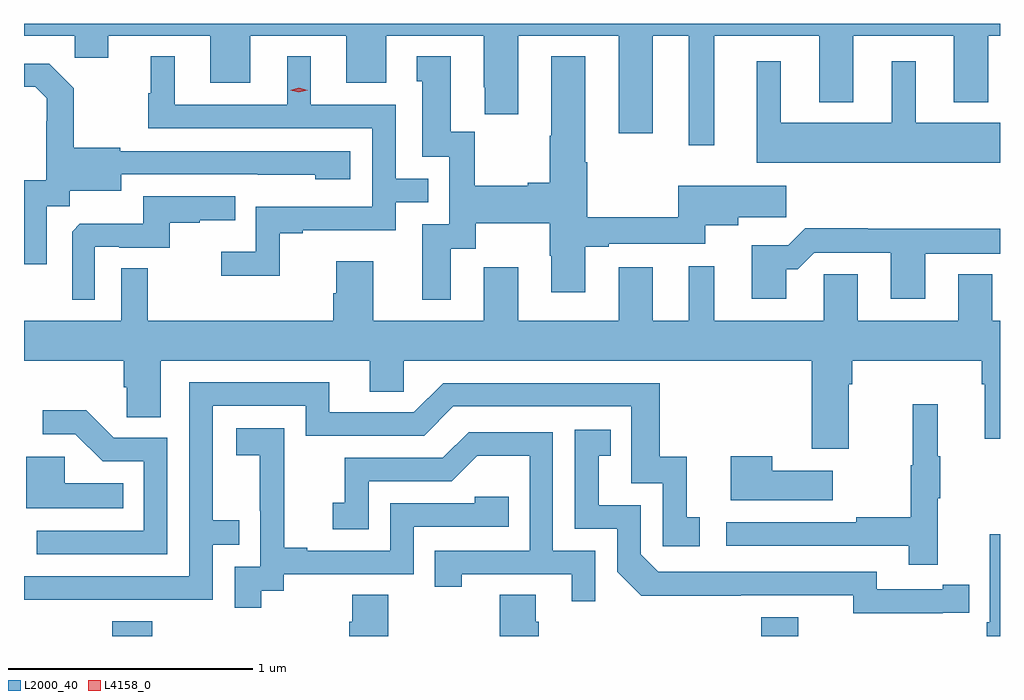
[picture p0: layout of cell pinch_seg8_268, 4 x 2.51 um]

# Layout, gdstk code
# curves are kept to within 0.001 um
import gdstk
lib = gdstk.Library(unit=1e-6, precision=1e-09)
def R(c, l, rs):  # rectangles x0, y0, x1, y1
    for r in rs: c.add(gdstk.rectangle(r[:2], r[2:], *l))
def P(c, l, *ps):  # polygons
    for p in ps: c.add(gdstk.Polygon(p, *l))
L2000_40 = (2000, 40)
L4158_0 = (4158, 0)

pinch_seg8_268 = lib.new_cell('pinch_seg8_268')
R(pinch_seg8_268, L2000_40, [(544.427,1161.991,544.592,1162.051), (547.088,1161.991,547.24,1162.069)])
P(pinch_seg8_268, L2000_40, [(546.895,1164.452),(547.325,1164.452),(547.325,1164.179),(547.465,1164.179),(547.465,1164.452),(547.877,1164.452),(547.877,1164.179),(548.017,1164.179),(548.017,1164.452),(548.066,1164.452),(548.066,1164.5),(544.066,1164.5),(544.066,1164.452),(544.273,1164.452),(544.273,1164.362),(544.411,1164.362),(544.411,1164.452),(544.829,1164.452),(544.829,1164.258),(544.993,1164.258),(544.993,1164.452),(545.387,1164.452),(545.387,1164.258),(545.551,1164.258),(545.551,1164.452),(545.951,1164.452),(545.951,1164.241),(545.954,1164.241),(545.954,1164.129),(546.091,1164.129),(546.091,1164.452),(546.503,1164.452),(546.503,1164.051),(546.643,1164.051),(546.643,1164.452),(546.791,1164.452),(546.791,1164.003),(546.895,1164.003)],
  [(545.115,1163.643),(545.209,1163.643),(545.209,1163.655),(545.589,1163.655),(545.589,1163.769),(545.723,1163.769),(545.723,1163.865),(545.589,1163.865),(545.589,1164.168),(545.242,1164.168),(545.242,1164.367),(545.144,1164.367),(545.144,1164.168),(544.684,1164.168),(544.684,1164.367),(544.586,1164.367),(544.586,1164.216),(544.575,1164.216),(544.575,1164.072),(545.493,1164.072),(545.493,1163.751),(545.016,1163.751),(545.016,1163.566),(544.875,1163.566),(544.875,1163.468),(545.115,1163.468)],
  [(545.815,1163.578),(545.917,1163.578),(545.917,1163.684),(546.22,1163.684),(546.22,1163.55),(546.227,1163.55),(546.227,1163.4),(546.367,1163.4),(546.367,1163.586),(546.463,1163.586),(546.463,1163.598),(546.857,1163.598),(546.857,1163.675),(546.994,1163.675),(546.994,1163.707),(547.189,1163.707),(547.189,1163.836),(546.747,1163.836),(546.747,1163.707),(546.375,1163.707),(546.375,1163.932),(546.367,1163.932),(546.367,1164.367),(546.227,1164.367),(546.227,1164.041),(546.22,1164.041),(546.22,1163.849),(546.131,1163.849),(546.131,1163.836),(545.913,1163.836),(545.913,1164.059),(545.815,1164.059),(545.815,1164.367),(545.675,1164.367),(545.675,1164.264),(545.699,1164.264),(545.699,1163.955),(545.808,1163.955),(545.808,1163.679),(545.699,1163.679),(545.699,1163.37),(545.815,1163.37)],
  [(548.066,1164.094),(547.72,1164.094),(547.72,1164.346),(547.622,1164.346),(547.622,1164.094),(547.168,1164.094),(547.168,1164.346),(547.07,1164.346),(547.07,1163.93),(548.066,1163.93)],
  [(544.159,1163.752),(544.254,1163.752),(544.254,1163.816),(544.465,1163.816),(544.465,1163.883),(545.259,1163.882),(545.259,1163.864),(545.404,1163.864),(545.404,1163.979),(544.461,1163.979),(544.461,1163.992),(544.269,1163.992),(544.269,1164.237),(544.169,1164.337),(544.066,1164.337),(544.066,1164.243),(544.113,1164.243),(544.16,1164.196),(544.16,1164.101),(544.158,1164.101),(544.158,1163.86),(544.066,1163.86),(544.066,1163.514),(544.159,1163.514)],
  [(544.356,1163.586),(544.456,1163.586),(544.456,1163.583),(544.664,1163.583),(544.664,1163.685),(544.787,1163.685),(544.787,1163.696),(544.931,1163.696),(544.931,1163.793),(544.554,1163.793),(544.554,1163.681),(544.295,1163.681),(544.263,1163.649),(544.263,1163.369),(544.356,1163.369)],
  [(547.189,1163.495),(547.238,1163.495),(547.305,1163.562),(547.619,1163.562),(547.619,1163.373),(547.759,1163.373),(547.759,1163.559),(548.066,1163.559),(548.066,1163.66),(547.523,1163.66),(547.523,1163.663),(547.268,1163.663),(547.198,1163.593),(547.049,1163.593),(547.049,1163.373),(547.189,1163.373)],
  [(547.447,1163.024),(547.46,1163.024),(547.46,1163.12),(547.991,1163.12),(547.991,1163.024),(548.003,1163.024),(548.003,1162.8),(548.066,1162.8),(548.066,1163.284),(548.035,1163.284),(548.035,1163.474),(547.895,1163.474),(547.895,1163.284),(547.483,1163.284),(547.483,1163.474),(547.344,1163.474),(547.344,1163.284),(546.895,1163.284),(546.895,1163.506),(546.791,1163.506),(546.791,1163.284),(546.643,1163.284),(546.643,1163.503),(546.503,1163.503),(546.503,1163.284),(546.091,1163.284),(546.091,1163.503),(545.951,1163.503),(545.951,1163.284),(545.497,1163.284),(545.497,1163.527),(545.345,1163.527),(545.345,1163.397),(545.333,1163.397),(545.333,1163.284),(544.573,1163.284),(544.573,1163.498),(544.464,1163.498),(544.464,1163.284),(544.066,1163.284),(544.066,1163.12),(544.475,1163.12),(544.475,1163.011),(544.488,1163.011),(544.488,1162.888),(544.627,1162.888),(544.627,1163.12),(545.483,1163.12),(545.483,1162.993),(545.622,1162.993),(545.622,1163.12),(547.295,1163.12),(547.295,1162.758),(547.447,1162.758)],
  [(544.343,1162.14),(544.839,1162.14),(544.839,1162.365),(544.949,1162.365),(544.949,1162.466),(544.839,1162.466),(544.839,1162.935),(545.22,1162.935),(545.22,1162.812),(545.706,1162.812),(545.826,1162.932),(546.555,1162.932),(546.555,1162.617),(546.684,1162.617),(546.684,1162.359),(546.835,1162.359),(546.835,1162.479),(546.782,1162.479),(546.782,1162.726),(546.671,1162.726),(546.671,1163.028),(545.784,1163.028),(545.664,1162.908),(545.317,1162.908),(545.317,1163.031),(544.743,1163.031),(544.743,1162.236),(544.066,1162.236),(544.066,1162.139)],
  [(547.811,1162.555),(547.822,1162.555),(547.822,1162.729),(547.811,1162.729),(547.811,1162.942),(547.708,1162.942),(547.708,1162.692),(547.701,1162.692),(547.701,1162.478),(547.477,1162.478),(547.477,1162.458),(546.945,1162.458),(546.945,1162.362),(547.693,1162.362),(547.693,1162.284),(547.811,1162.284)],
  [(544.653,1162.803),(544.434,1162.803),(544.321,1162.916),(544.143,1162.916),(544.143,1162.818),(544.277,1162.818),(544.388,1162.707),(544.557,1162.707),(544.557,1162.422),(544.119,1162.422),(544.119,1162.326),(544.653,1162.326)],
  [(545.038,1162.177),(545.13,1162.177),(545.13,1162.245),(545.664,1162.245),(545.664,1162.44),(546.053,1162.44),(546.053,1162.563),(545.913,1162.563),(545.913,1162.536),(545.568,1162.536),(545.568,1162.341),(545.227,1162.341),(545.227,1162.354),(545.132,1162.354),(545.132,1162.637),(545.133,1162.637),(545.133,1162.843),(544.935,1162.843),(544.935,1162.733),(545.033,1162.733),(545.033,1162.505),(545.034,1162.505),(545.034,1162.275),(544.929,1162.275),(544.929,1162.107),(545.038,1162.107)],
  [(547.832,1162.086),(547.94,1162.086),(547.94,1162.202),(547.832,1162.202),(547.832,1162.182),(547.56,1162.182),(547.56,1162.254),(546.666,1162.254),(546.594,1162.326),(546.594,1162.527),(546.421,1162.527),(546.421,1162.731),(546.47,1162.731),(546.47,1162.837),(546.324,1162.837),(546.324,1162.431),(546.498,1162.431),(546.498,1162.254),(546.596,1162.157),(547.464,1162.158),(547.464,1162.085)],
  [(546.408,1162.341),(546.234,1162.341),(546.234,1162.827),(545.888,1162.827),(545.783,1162.722),(545.38,1162.722),(545.38,1162.537),(545.331,1162.537),(545.331,1162.428),(545.478,1162.428),(545.478,1162.626),(545.82,1162.626),(545.924,1162.73),(546.138,1162.73),(546.138,1162.341),(545.749,1162.341),(545.749,1162.194),(545.86,1162.194),(545.86,1162.245),(546.311,1162.245),(546.311,1162.134),(546.408,1162.134)],
  [(547.381,1162.669),(547.133,1162.669),(547.133,1162.729),(546.962,1162.729),(546.962,1162.547),(547.381,1162.547)],
  [(544.472,1162.618),(544.233,1162.618),(544.233,1162.726),(544.076,1162.726),(544.076,1162.514),(544.472,1162.514)],
  [(548.066,1162.408),(548.025,1162.408),(548.025,1162.048),(548.012,1162.048),(548.012,1161.991),(548.066,1161.991)],
  [(545.559,1162.16),(545.411,1162.16),(545.411,1162.05),(545.399,1162.05),(545.399,1161.991),(545.559,1161.991)],
  [(546.176,1162.05),(546.163,1162.05),(546.163,1162.16),(546.016,1162.16),(546.016,1161.991),(546.176,1161.991)])
P(pinch_seg8_268, L4158_0, [(545.193,1164.219),(545.157,1164.228),(545.157,1164.229),(545.157,1164.229),(545.193,1164.239),(545.229,1164.229),(545.229,1164.229),(545.229,1164.228)])

lib.write_gds('pinch_seg8_268.gds')
